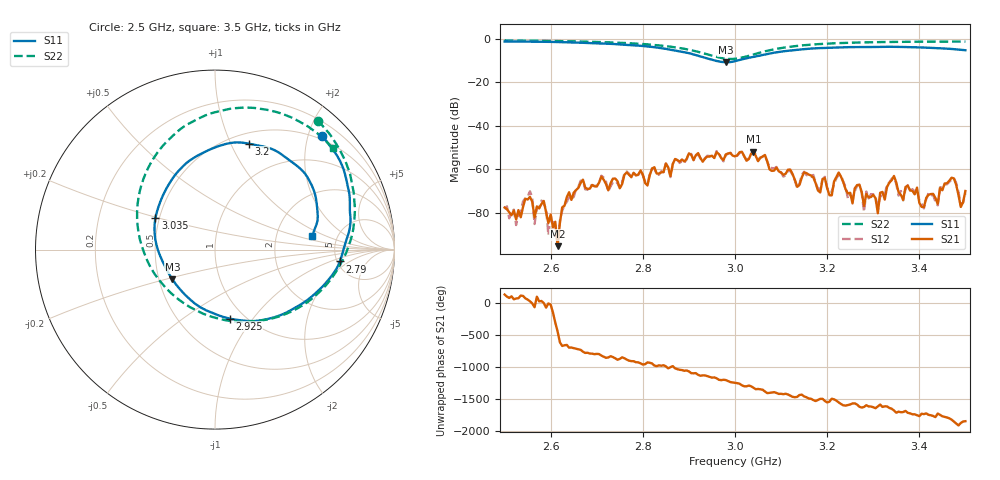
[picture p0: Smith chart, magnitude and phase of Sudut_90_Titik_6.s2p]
# Hz S RI R 50
! CMT, C1220, 16058040, 17.2.0/1
! Date: 15/08/2018 10:16:21
! Data: Format (Calibration Info)
! Freq  S11: Re/Im (F2)  S21: Re/Im (F2)  S12: Re/Im (F2)  S22: Re/Im (F2)
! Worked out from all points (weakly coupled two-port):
!   201 points, 2.5 GHz to 3.5 GHz, reference 50 ohm
!   highest |S21| = -51.85 dB at 3.04 GHz (marker M1); lowest = -95.3 dB at 2.615 GHz (marker M2)
!   lowest |S11| = -10.8 dB at 2.98 GHz (marker M3), VSWR 1.81, Z = 29.4 - j10.7 ohm
!   |S11| at or under -10 dB: 2.957 GHz to 3.005 GHz (47.72 MHz wide, 1.6 % of centre)
!   |S22| runs from -9.3 to -0.7 dB; largest |S21 - S12| = 0.00018
!   S11 on the Smith chart (normalised r, x): 2.5 GHz: 0.43, +2.25; 2.79 GHz: 5.27, -1.36; 2.925 GHz: 0.85, -0.78; 3.035 GHz: 0.48, +0.20; 3.2 GHz: 0.61, +1.17; 3.5 GHz: 3.24, +0.72
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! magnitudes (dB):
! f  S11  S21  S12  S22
! 2.5 GHz  -1.2  -77.6  -78.4  -0.7
! 2.555 GHz  -1.3  -72.7  -70.1  -0.8
! 2.565 GHz  -1.3  -82.2  -85.2  -0.9
! 2.615 GHz  -1.5  -95.3  -93.8  -1.0
! 2.67 GHz  -1.8  -64.8  -65.4  -1.2
! 2.79 GHz  -3.1  -62.4  -62.6  -2.2
! 2.835 GHz  -4.1  -62.0  -62.5  -3.0
! 2.925 GHz  -8.1  -54.8  -55.0  -6.3
! 2.98 GHz  -10.8  -53.2  -53.5  -9.1
! 3 GHz  -10.3  -54.0  -54.0  -9.2
! 3.035 GHz  -8.5  -52.9  -52.9  -7.5
! 3.04 GHz  -8.3  -51.9  -51.6  -7.2
! 3.135 GHz  -5.0  -68.1  -68.8  -3.2
! 3.17 GHz  -4.4  -63.7  -62.6  -2.6
! 3.2 GHz  -4.2  -68.7  -68.5  -2.2
! 3.225 GHz  -4.0  -61.5  -62.5  -2.0
! 3.31 GHz  -3.7  -80.2  -77.1  -1.5
! 3.335 GHz  -3.7  -66.1  -66.1  -1.4
! 3.41 GHz  -4.0  -77.4  -78.0  -1.3
! 3.475 GHz  -4.7  -64.2  -64.1  -1.3
! 3.49 GHz  -5.0  -77.3  -76.1  -1.3
! 3.5 GHz  -5.2  -70.0  -71.1  -1.3
